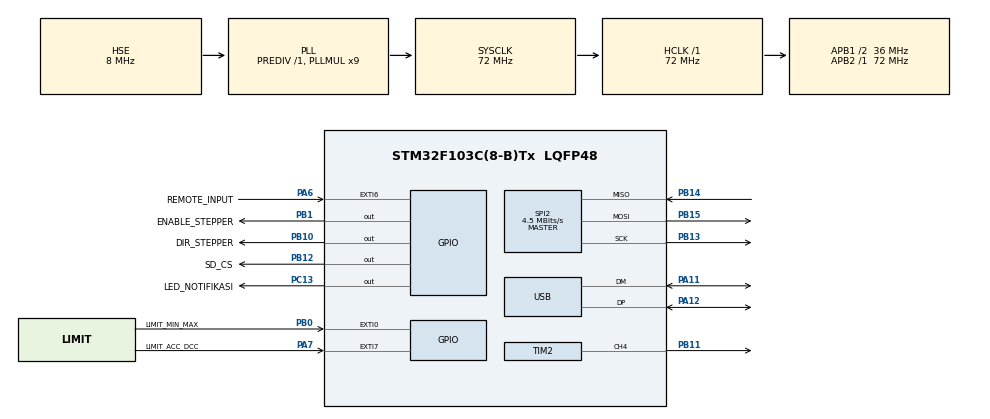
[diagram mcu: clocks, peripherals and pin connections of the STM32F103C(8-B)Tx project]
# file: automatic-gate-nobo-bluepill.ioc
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FATFS._MAX_SS=4096
FATFS._USE_LFN=1
Mcu.Family=STM32F1
Mcu.Name=STM32F103C(8-B)Tx
Mcu.Package=LQFP48
NVIC.EXTI0_IRQn=true\:0\:0\:false\:false\:true\:true\:true\:true
NVIC.EXTI9_5_IRQn=true\:0\:0\:false\:false\:true\:true\:true\:true
NVIC.PriorityGroup=NVIC_PRIORITYGROUP_4
NVIC.USB_LP_CAN1_RX0_IRQn=true\:0\:0\:false\:false\:true\:false\:true\:true
PA11.Mode=Device
PA11.Signal=USB_DM
PA12.Mode=Device
PA12.Signal=USB_DP
PA13.Mode=Serial_Wire
PA13.Signal=SYS_JTMS-SWDIO
PA14.Mode=Serial_Wire
PA14.Signal=SYS_JTCK-SWCLK
PA6.GPIO_Label=REMOTE_INPUT
PA6.GPIO_ModeDefaultEXTI=GPIO_MODE_IT_RISING_FALLING
PA6.GPIO_PuPd=GPIO_PULLUP
PA6.Signal=GPXTI6
PA7.GPIO_Label=LIMIT_ACC_DCC
PA7.GPIO_ModeDefaultEXTI=GPIO_MODE_IT_FALLING
PA7.GPIO_PuPd=GPIO_PULLUP
PA7.Signal=GPXTI7
PB0.GPIO_Label=LIMIT_MIN_MAX
PB0.GPIO_ModeDefaultEXTI=GPIO_MODE_IT_FALLING
PB0.GPIO_PuPd=GPIO_PULLUP
PB0.Signal=GPXTI0
PB1.GPIO_Label=ENABLE_STEPPER
PB1.Signal=GPIO_Output
PB10.GPIO_Label=DIR_STEPPER
PB10.Signal=GPIO_Output
PB11.Signal=S_TIM2_CH4
PB12.GPIO_Label=SD_CS
PB12.Signal=GPIO_Output
PB13.Mode=Full_Duplex_Master
PB13.Signal=SPI2_SCK
PB14.Mode=Full_Duplex_Master
PB14.Signal=SPI2_MISO
PB15.Mode=Full_Duplex_Master
PB15.Signal=SPI2_MOSI
PC13-TAMPER-RTC.GPIO_Label=LED_NOTIFIKASI
PC13-TAMPER-RTC.Signal=GPIO_Output
PC14-OSC32_IN.Mode=LSE-External-Oscillator
PC14-OSC32_IN.Signal=RCC_OSC32_IN
PC15-OSC32_OUT.Mode=LSE-External-Oscillator
PC15-OSC32_OUT.Signal=RCC_OSC32_OUT
PD0-OSC_IN.Mode=HSE-External-Oscillator
PD0-OSC_IN.Signal=RCC_OSC_IN
PD1-OSC_OUT.Mode=HSE-External-Oscillator
PD1-OSC_OUT.Signal=RCC_OSC_OUT
ProjectManager.HeapSize=0x200
ProjectManager.StackSize=0x400
ProjectManager.TargetToolchain=STM32CubeIDE
RCC.AHBFreq_Value=72000000
RCC.APB1CLKDivider=RCC_HCLK_DIV2
RCC.APB1Freq_Value=36000000
RCC.APB1TimFreq_Value=72000000
RCC.APB2Freq_Value=72000000
RCC.APB2TimFreq_Value=72000000
RCC.HCLKFreq_Value=72000000
RCC.PLLMUL=RCC_PLL_MUL9
RCC.SYSCLKFreq_VALUE=72000000
RCC.SYSCLKSource=RCC_SYSCLKSOURCE_PLLCLK
RCC.USBFreq_Value=48000000
RCC.USBPrescaler=RCC_USBCLKSOURCE_PLL_DIV1_5
RTC.Date=12
RTC.Hours=16
RTC.Minutes=30
RTC.WeekDay=RTC_WEEKDAY_SUNDAY
RTC.Year=25
SH.S_TIM2_CH4.0=TIM2_CH4,PWM Generation4 CH4
SPI2.BaudRatePrescaler=SPI_BAUDRATEPRESCALER_8
SPI2.CalculateBaudRate=4.5 MBits/s
SPI2.Direction=SPI_DIRECTION_2LINES
SPI2.Mode=SPI_MODE_MASTER
SPI2.VirtualType=VM_MASTER
TIM2.AutoReloadPreload=TIM_AUTORELOAD_PRELOAD_ENABLE
TIM2.Channel-PWM\ Generation4\ CH4=TIM_CHANNEL_4
TIM2.Period=300
TIM2.Prescaler=72-1
TIM2.Pulse-PWM\ Generation4\ CH4=10
USB_DEVICE.CLASS_NAME_FS=CDC
USB_DEVICE.VirtualMode=Cdc
USB_DEVICE.VirtualModeFS=Cdc_FS
VP_FATFS_VS_Generic.Mode=User_defined
VP_RTC_VS_RTC_Activate.Mode=RTC_Enabled
VP_RTC_VS_RTC_Calendar.Mode=RTC_Calendar
VP_TIM2_VS_ClockSourceINT.Mode=Internal
VP_USB_DEVICE_VS_USB_DEVICE_CDC_FS.Mode=CDC_FS
board=custom

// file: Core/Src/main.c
/* USER CODE BEGIN Header */
/**
 ******************************************************************************
 * @file           : main.c
 * @brief          : Main program body
 ******************************************************************************
 * @attention
 *
 * Copyright (c) 2025 STMicroelectronics.
 * All rights reserved.
 *
 * This software is licensed under terms that can be found in the LICENSE file
 * in the root directory of this software component.
 * If no LICENSE file comes with this software, it is provided AS-IS.
 *
 ******************************************************************************
 */
/* USER CODE END Header */
#include "main.h"
#include "fatfs.h"
#include "usb_device.h"

/* USER CODE BEGIN Includes */
#include "usbd_cdc_if.h"
#include <stdio.h>
#include "FEE.h"
/* USER CODE END Includes */

/* USER CODE BEGIN PD */
/* konfigurasi amalat memory untuk pengaturan */
#define PERIOD_MAX_SPEED_ADDRESS ((uint32_t)0x08007000)          //$1 default 20 (hz)
#define PERIOD_MIN_SPEED_ADDRESS ((uint32_t)0x08007010)          //$2 default 300 (hz)
#define TIME_INCREMENTPULSEWIDTH_ADDRESS ((uint32_t)0x08007020)  //$3 default 30 (ms)
#define TIME_DECCREMENTPULSEWIDTH_ADDRESS ((uint32_t)0x08007030) //$4 default 30 (ms)
#define VALUE_INCREMENTPULSEWIDTH_ADDRESS ((uint32_t)0x08007040) //$5 default 1 (hz)
#define VALUE_DECREMENTPULSEWIDTH_ADDRESS ((uint32_t)0x08007050) //$6 default 1 (hz)
#define NYALAKAN_VERBOSE_OUTPUT_ADDRESS ((uint32_t)0x08007060)   //$7 default 0 (verbose mati)
#define BALIK_ARAH_GERBANG_ADDRESS ((uint32_t)0x08007070)        //$8 default 0 (arah tidak terbalik)
#define BALIK_ENABLE_GERBANG_ADDRESS ((uint32_t)0x08007080)      //$9 default 0 (arah tidak terbalik)
#define DEBOUNCE_DELAY_EXTI_ADDRESS ((uint32_t)0x08007090)      //$10 default 0 (durasi debounce limit)
#define PULL_OFF_TIME_ADDRESS ((uint32_t)0x080070A0)      //$11 default 0 (durasi debounce limit)

/* Konfigurasi Parameter */
#define STEPS_PER_MM 100  // Langkah per mm
#define PULSE_WIDTH_US 10 // Lebar pulsa minimal agar bisa dibaca stepper driver dalam us
#define ACCELERATION 2000 // nilai akselerasi dalam mm/s^2
#define MAX_SPEED 1000    // max speed dalam mm/s
#define MIN_SPEED 50      // speed minimal jika dekselerasi mencapai spd minimal namun belum sampai limit_min_max

/* definisi interrupt handler */
//#define debounce_delay_exti 600 // Konfigurasi debounce delay external interrupt(dalam milidetik)
#define LIMIT_MIN_MAX_PIN 0
#define LIMIT_ACC_DCC_PIN 1
#define REMOTE_PIN 2
#define GERBANG_TERBUKA 0
#define GERBANG_TERTUTUP 1

/* USER CODE END PD */

RTC_HandleTypeDef hrtc;

SPI_HandleTypeDef hspi2;

TIM_HandleTypeDef htim2;

/* USER CODE BEGIN PV */
/* verbose output parameter */
uint8_t nyalakan_verbose_output = 0;            // default mati
uint8_t baca_dan_tampilkan_flash = 0;            // baca dan tampilkan nilai flash memory

// rentang pulse dari lambat sampai cepat (max speed)
uint32_t period_max_speed = 20;            // dalam us
uint32_t period_min_speed = 300;            // dalam us
uint32_t time_incrementPulseWidth = 30;            // dalam ms (untuk menentukan akselerasi secara bodoh)
uint32_t time_decrementPulseWidth = 30;            // dalam ms (untuk menentukan dekselerasi secara bodoh)
uint32_t value_incrementPulseWidth = 1;            // per time_incrementPulseWidth berapa nilai currentPeriod yang berkurang
uint32_t value_decrementPulseWidth = 1;            // per time_incrementPulseWidth berapa nilai currentPeriod yang berkurang
uint32_t currentPeriod = 0;             // Periode awal dalam mikrodetik

uint32_t last_updateTimePeriod = 0;            // Waktu terakhir pembaruan periode (u/ hal_gettick)
uint8_t period_increasing_decreasing = 0;            // Flag untuk mengatur pengurangan nilai period step

// handle variabel dan flag untuk gerbang
uint8_t gerbang_berjalan = 0;            // Flag untuk menunjukkan gerbang berjalan
uint8_t arah_gerbang = 0;              // Flag untuk menunjukkan gerbang berjalan
uint32_t last_timeGerbangBerhenti = 0;            // handle delay gerbang mati setelah beberapa saat
uint32_t time_disableGerbang = 2000;            // handle delay gerbang mati setelah beberapa saat
uint8_t balik_arahGerbang = 0;            // variabel untuk membalik arah gerbang
uint8_t balik_enableGerbang = 0;
uint32_t debounce_delay_exti = 0;
uint32_t pull_off_time = 0;
uint32_t buffer_pull_off_time = 0;
uint8_t pull_off_state = 0;

// variabel untuk pin input gerbang (remote, limit_min_max, limit_acc_dcc)
volatile uint32_t last_buttonPressTime[3] = { 0, 0, 0 };            // interrupt delay
volatile uint8_t state_limit[3] = { 0, 0, 0 };
/* USER CODE END PV */

void SystemClock_Config(void);
static void MX_GPIO_Init(void);
static void MX_TIM2_Init(void);
static void MX_RTC_Init(void);
static void MX_SPI2_Init(void);
/* USER CODE BEGIN PFP */
void delay_us(uint32_t);
void baca_nilai_pada_flash(void);
// void move_motor(uint32_t, uint8_t);
/* USER CODE END PFP */

/* USER CODE BEGIN 0 */
int _write(int file, char *ptr, int len) {
 CDC_Transmit_FS((uint8_t*) ptr, len);
 return len;
}
/* USER CODE END 0 */

int main(void) {

 /* MCU Configuration--------------------------------------------------------*/

 /* Reset of all peripherals, Initializes the Flash interface and the Systick. */
 HAL_Init();

 /* Configure the system clock */
 SystemClock_Config();

 /* Initialize all configured peripherals */
 MX_GPIO_Init();
 MX_USB_DEVICE_Init();
 MX_TIM2_Init();
 MX_RTC_Init();
 MX_SPI2_Init();
 MX_FATFS_Init();
 /* USER CODE BEGIN 2 */
 baca_nilai_pada_flash();
 /* USER CODE END 2 */

 /* Infinite loop */
 /* USER CODE BEGIN WHILE */
 while (1) {
  /*fungsi print ke serial monitor*/
  if (baca_dan_tampilkan_flash == 1) {
   baca_nilai_pada_flash();
   char buffer[512];
   int len =
    snprintf(buffer, sizeof(buffer),
     "$1 = %ld (period_max_speed)\n$2 = %ld (period_min_speed)\n$3 = %ld (time_incrementPulseWidth)\n$4 = %ld (time_decrementPulseWidth)\n$5 = %ld (value_incrementPulseWidth)\n$6 = %ld (value_decrementPulseWidth)\n$7 = %d (nyalakan verbose output)\n$8 = %d (1 bearti arah gerbang terbalik)\n$9 = %d (1 bearti enable gerbang terbalik)\n$10 = %ld (nilai debounce delay)\n$11 = %ld (pull off time)\n",
     period_max_speed, period_min_speed, time_incrementPulseWidth, time_decrementPulseWidth,
     value_incrementPulseWidth, value_decrementPulseWidth, nyalakan_verbose_output,
     balik_arahGerbang, balik_enableGerbang, debounce_delay_exti, pull_off_time);

   CDC_Transmit_FS((uint8_t*) buffer, len);
   //
   //   printf("$1 = %lu\n$2 = %lu\n$3 = %lu\n$4 = %lu\n$5 = %lu\n$6 = %lu\n", set_waktu_timer_oli,
   //    set_waktu_pompa_oli_on, tipe_emulasi, auto_counter_delay, verbose_delay, arah_auto_counter);
   baca_dan_tampilkan_flash = 0;
  }
  if (nyalakan_verbose_output == 1) {
   printf("nilai: %d %d %d %d %d \t\n", state_limit[LIMIT_MIN_MAX_PIN],
    state_limit[LIMIT_ACC_DCC_PIN], state_limit[REMOTE_PIN], gerbang_berjalan,
    period_increasing_decreasing);
  }

  /* handle arah gerbang. berikut adalah truth table-nya :3*/
  /* 0==0 true
   * 1==0 false
   * 0==1 false
   * 1==1 true
   */
  arah_gerbang == balik_arahGerbang ?
   HAL_GPIO_WritePin(DIR_STEPPER_GPIO_Port, DIR_STEPPER_Pin, GPIO_PIN_RESET) :
   HAL_GPIO_WritePin(DIR_STEPPER_GPIO_Port, DIR_STEPPER_Pin, GPIO_PIN_SET);

  /* handle disable stepper setelah beberapa saat berhenti */
  if (!gerbang_berjalan && HAL_GetTick() - last_timeGerbangBerhenti >= time_disableGerbang) {
   time_disableGerbang = HAL_GetTick();            // Catat waktu pembaruan
   balik_enableGerbang ?
    HAL_GPIO_WritePin(ENABLE_STEPPER_GPIO_Port, ENABLE_STEPPER_Pin, GPIO_PIN_SET) :
    HAL_GPIO_WritePin(ENABLE_STEPPER_GPIO_Port, ENABLE_STEPPER_Pin, GPIO_PIN_RESET);
  }

  /* lakukan sesuatu acc, cc, dan dcc berdasar state_limit[LIMIT_ACC_DCC_PIN]*/
  if (state_limit[LIMIT_ACC_DCC_PIN] == 0) {
   period_increasing_decreasing = 1;            // Mulai akselerasi
  } else if (state_limit[LIMIT_ACC_DCC_PIN] == 1) {
   period_increasing_decreasing = 0;            // Mulai konstan speed
  } else {
   period_increasing_decreasing = 2;            // Mulai dekselerasi
  }

  /*jika limit_min_max tertrigger ketika gerbang berjalan, matikan state_limit[REMOTE_PIN] sehingga mematikan pulse*/
  if (state_limit[LIMIT_MIN_MAX_PIN]) {
   state_limit[LIMIT_ACC_DCC_PIN] = 0;
   state_limit[LIMIT_MIN_MAX_PIN] = 0;
   state_limit[REMOTE_PIN] = 0;            // reset flag trigger remote gerbang
  }

  /* pin remote gerbang tertrigger */
  if (state_limit[REMOTE_PIN]) {
   if (!gerbang_berjalan) {                                           // jika gerbang tidak berjalan
    pull_off_state = 0;            //matikan pull_off_state
    gerbang_berjalan = 1;                                               // Set flag jalankan gerbang
    balik_enableGerbang ?
     HAL_GPIO_WritePin(ENABLE_STEPPER_GPIO_Port, ENABLE_STEPPER_Pin, GPIO_PIN_RESET) :
     HAL_GPIO_WritePin(ENABLE_STEPPER_GPIO_Port, ENABLE_STEPPER_Pin, GPIO_PIN_SET);            // aktifkan driver
    state_limit[LIMIT_ACC_DCC_PIN] = 0;                                              // mulai dari 0
    currentPeriod = period_min_speed;                                  // Reset periode ke min speed
    HAL_TIM_PWM_Start(&htim2, TIM_CHANNEL_4);                                           // Mulai PWM
   }
  } else { /*flag state_limit[LIMIT_ACC_DCC_PIN] mati, berhentikan gerbang*/
   if (gerbang_berjalan) {            // hentikan gerbang
//    state_limit[LIMIT_ACC_DCC_PIN] = 0;
//    HAL_TIM_PWM_Stop(&htim2, TIM_CHANNEL_4); /* Matikan PWM*/
//    /*pull off gerbang*/
//    HAL_Delay(200); /*jeda sebentar sebelum pull-off*/
//    /*ini kebalikan dari yang atas tadi*/
//    arah_gerbang == balik_arahGerbang ?
//     HAL_GPIO_WritePin(DIR_STEPPER_GPIO_Port, DIR_STEPPER_Pin, GPIO_PIN_SET) :
//     HAL_GPIO_WritePin(DIR_STEPPER_GPIO_Port, DIR_STEPPER_Pin, GPIO_PIN_RESET);
//    HAL_TIM_PWM_Start(&htim2, TIM_CHANNEL_4);                                           // Mulai PWM
//    __HAL_TIM_SET_AUTORELOAD(&htim2, period_min_speed);
//    HAL_Delay(pull_off_time);
//    HAL_TIM_PWM_Stop(&htim2, TIM_CHANNEL_4); /* Matikan PWM*/
//
//    /*disable stepper motor*/
//    HAL_Delay(500);
//    balik_enableGerbang ?
//     HAL_GPIO_WritePin(GPIOA, GPIO_PIN_0, GPIO_PIN_RESET) :
//     HAL_GPIO_WritePin(GPIOA, GPIO_PIN_0, GPIO_PIN_SET);            // Pastikan output low
//      /*buat gerbang tidak berjalan lagi*/
//    gerbang_berjalan = 0; /*Reset flag tombol*/
//    period_increasing_decreasing = 0; /* Hentikan pengurangan periode*/
    state_limit[LIMIT_ACC_DCC_PIN] = 0;
    gerbang_berjalan = 0;                                 // Reset flag tombol
    period_increasing_decreasing = 0;                     // Hentikan pengurangan periode
    HAL_TIM_PWM_Stop(&htim2, TIM_CHANNEL_4);              // Matikan PWM
    balik_enableGerbang ?
     HAL_GPIO_WritePin(GPIOA, GPIO_PIN_0, GPIO_PIN_RESET) :
     HAL_GPIO_WritePin(GPIOA, GPIO_PIN_0, GPIO_PIN_SET);            // Pastikan output low
   }
  }

  /* Perbarui periode sinyal untuk pull-off */
//  if (pull_off_state == 1 && HAL_GetTick() - last_updateTimePeriod >= time_incrementPulseWidth) {            // Perbarui setiap 20 ms
//   last_updateTimePeriod = HAL_GetTick();            // Catat waktu pembaruan                                    // lakukan akselerasi
//   if (buffer_pull_off_time > 0) {
//    buffer_pull_off_time -= buffer_pull_off_time - 1;            // Kurangi periode secara bertahap
//    __HAL_TIM_SET_AUTORELOAD(&htim2, period_min_speed);            // Update ARR
//                                                                   //    jangan update duty karena driver selalu menerima pulse 10us
//                                                                   //    __HAL_TIM_SET_COMPARE(&htim2, TIM_CHANNEL_4, currentPeriod / 2); // Update duty cycle
//   } else {
//    gerbang_berjalan = 0;                                 // Reset flag tombol
//    period_increasing_decreasing = 0;                     // Hentikan pengurangan periode
//    HAL_TIM_PWM_Stop(&htim2, TIM_CHANNEL_4);              // Matikan PWM
//    balik_enableGerbang ?
//     HAL_GPIO_WritePin(GPIOA, GPIO_PIN_0, GPIO_PIN_RESET) :
//     HAL_GPIO_WritePin(GPIOA, GPIO_PIN_0, GPIO_PIN_SET);            // Pastikan output low
//
//    buffer_pull_off_time = 0;
//    pull_off_state = 0;            // Periode mencapai 20 µs, hentikan pengurangan
//   }
//  }

  /* Perbarui periode sinyal untuk akselerasi */
  if (period_increasing_decreasing == 1
   && HAL_GetTick() - last_updateTimePeriod >= time_incrementPulseWidth) {            // Perbarui setiap 20 ms
   last_updateTimePeriod = HAL_GetTick();            // Catat waktu pembaruan
   if (currentPeriod > period_max_speed) {                                     // lakukan akselerasi
    currentPeriod -= value_incrementPulseWidth;            // Kurangi periode secara bertahap
    __HAL_TIM_SET_AUTORELOAD(&htim2, currentPeriod - 1);            // Update ARR
                                                                    //    jangan update duty karena driver selalu menerima pulse 10us
                                                                    //    __HAL_TIM_SET_COMPARE(&htim2, TIM_CHANNEL_4, currentPeriod / 2); // Update duty cycle
   } else {
    period_increasing_decreasing = 0;            // Periode mencapai 20 µs, hentikan pengurangan
   }
  }

  /* Perbarui periode sinyal untuk dekselerasi */
  if (period_increasing_decreasing == 2
   && HAL_GetTick() - last_updateTimePeriod >= time_incrementPulseWidth) {            // Perbarui setiap 20 ms
   last_updateTimePeriod = HAL_GetTick();            // Catat waktu pembaruan
   if (currentPeriod < period_min_speed) {                                     // lakukan akselerasi
    currentPeriod += value_decrementPulseWidth;            // Kurangi periode secara bertahap
    __HAL_TIM_SET_AUTORELOAD(&htim2, currentPeriod - 1);            // Update ARR
                                                                    //    jangan update duty karena driver selalu menerima pulse 10us
                                                                    //    __HAL_TIM_SET_COMPARE(&htim2, TIM_CHANNEL_4, currentPeriod / 2); // Update duty cycle
   } else {
    period_increasing_decreasing = 0;            // Periode mencapai 20 µs, hentikan pengurangan
   }
  }
 }
 /* USER CODE END WHILE */

}

void SystemClock_Config(void) {
 RCC_OscInitTypeDef RCC_OscInitStruct = { 0 };
 RCC_ClkInitTypeDef RCC_ClkInitStruct = { 0 };
 RCC_PeriphCLKInitTypeDef PeriphClkInit = { 0 };

 /** Initializes the RCC Oscillators according to the specified parameters
  * in the RCC_OscInitTypeDef structure.
  */
 RCC_OscInitStruct.OscillatorType = RCC_OSCILLATORTYPE_LSI | RCC_OSCILLATORTYPE_HSE;
 RCC_OscInitStruct.HSEState = RCC_HSE_ON;
 RCC_OscInitStruct.HSEPredivValue = RCC_HSE_PREDIV_DIV1;
 RCC_OscInitStruct.HSIState = RCC_HSI_ON;
 RCC_OscInitStruct.LSIState = RCC_LSI_ON;
 RCC_OscInitStruct.PLL.PLLState = RCC_PLL_ON;
 RCC_OscInitStruct.PLL.PLLSource = RCC_PLLSOURCE_HSE;
 RCC_OscInitStruct.PLL.PLLMUL = RCC_PLL_MUL9;
 if (HAL_RCC_OscConfig(&RCC_OscInitStruct) != HAL_OK) {
  Error_Handler();
 }

 /** Initializes the CPU, AHB and APB buses clocks
  */
 RCC_ClkInitStruct.ClockType = RCC_CLOCKTYPE_HCLK | RCC_CLOCKTYPE_SYSCLK | RCC_CLOCKTYPE_PCLK1
  | RCC_CLOCKTYPE_PCLK2;
 RCC_ClkInitStruct.SYSCLKSource = RCC_SYSCLKSOURCE_PLLCLK;
 RCC_ClkInitStruct.AHBCLKDivider = RCC_SYSCLK_DIV1;
 RCC_ClkInitStruct.APB1CLKDivider = RCC_HCLK_DIV2;
 RCC_ClkInitStruct.APB2CLKDivider = RCC_HCLK_DIV1;

 if (HAL_RCC_ClockConfig(&RCC_ClkInitStruct, FLASH_LATENCY_2) != HAL_OK) {
  Error_Handler();
 }
 PeriphClkInit.PeriphClockSelection = RCC_PERIPHCLK_RTC | RCC_PERIPHCLK_USB;
 PeriphClkInit.RTCClockSelection = RCC_RTCCLKSOURCE_LSI;
 PeriphClkInit.UsbClockSelection = RCC_USBCLKSOURCE_PLL_DIV1_5;
 if (HAL_RCCEx_PeriphCLKConfig(&PeriphClkInit) != HAL_OK) {
  Error_Handler();
 }
}

static void MX_RTC_Init(void) {

 RTC_TimeTypeDef sTime = { 0 };
 RTC_DateTypeDef DateToUpdate = { 0 };

 /** Initialize RTC Only
  */
 hrtc.Instance = RTC;
 hrtc.Init.AsynchPrediv = RTC_AUTO_1_SECOND;
 hrtc.Init.OutPut = RTC_OUTPUTSOURCE_ALARM;
 if (HAL_RTC_Init(&hrtc) != HAL_OK) {
  Error_Handler();
 }

 /** Initialize RTC and set the Time and Date
  */
 sTime.Hours = 0x16;
 sTime.Minutes = 0x30;
 sTime.Seconds = 0x0;

 if (HAL_RTC_SetTime(&hrtc, &sTime, RTC_FORMAT_BCD) != HAL_OK) {
  Error_Handler();
 }
 DateToUpdate.WeekDay = RTC_WEEKDAY_SUNDAY;
 DateToUpdate.Month = RTC_MONTH_JANUARY;
 DateToUpdate.Date = 0x12;
 DateToUpdate.Year = 0x25;

 if (HAL_RTC_SetDate(&hrtc, &DateToUpdate, RTC_FORMAT_BCD) != HAL_OK) {
  Error_Handler();
 }

}

static void MX_SPI2_Init(void) {

 /* SPI2 parameter configuration*/
 hspi2.Instance = SPI2;
 hspi2.Init.Mode = SPI_MODE_MASTER;
 hspi2.Init.Direction = SPI_DIRECTION_2LINES;
 hspi2.Init.DataSize = SPI_DATASIZE_8BIT;
 hspi2.Init.CLKPolarity = SPI_POLARITY_LOW;
 hspi2.Init.CLKPhase = SPI_PHASE_1EDGE;
 hspi2.Init.NSS = SPI_NSS_SOFT;
 hspi2.Init.BaudRatePrescaler = SPI_BAUDRATEPRESCALER_8;
 hspi2.Init.FirstBit = SPI_FIRSTBIT_MSB;
 hspi2.Init.TIMode = SPI_TIMODE_DISABLE;
 hspi2.Init.CRCCalculation = SPI_CRCCALCULATION_DISABLE;
 hspi2.Init.CRCPolynomial = 10;
 if (HAL_SPI_Init(&hspi2) != HAL_OK) {
  Error_Handler();
 }

}

static void MX_TIM2_Init(void) {

 TIM_ClockConfigTypeDef sClockSourceConfig = { 0 };
 TIM_MasterConfigTypeDef sMasterConfig = { 0 };
 TIM_OC_InitTypeDef sConfigOC = { 0 };

 htim2.Instance = TIM2;
 htim2.Init.Prescaler = 72 - 1;
 htim2.Init.CounterMode = TIM_COUNTERMODE_UP;
 htim2.Init.Period = 300;
 htim2.Init.ClockDivision = TIM_CLOCKDIVISION_DIV1;
 htim2.Init.AutoReloadPreload = TIM_AUTORELOAD_PRELOAD_ENABLE;
 if (HAL_TIM_Base_Init(&htim2) != HAL_OK) {
  Error_Handler();
 }
 sClockSourceConfig.ClockSource = TIM_CLOCKSOURCE_INTERNAL;
 if (HAL_TIM_ConfigClockSource(&htim2, &sClockSourceConfig) != HAL_OK) {
  Error_Handler();
 }
 if (HAL_TIM_PWM_Init(&htim2) != HAL_OK) {
  Error_Handler();
 }
 sMasterConfig.MasterOutputTrigger = TIM_TRGO_RESET;
 sMasterConfig.MasterSlaveMode = TIM_MASTERSLAVEMODE_DISABLE;
 if (HAL_TIMEx_MasterConfigSynchronization(&htim2, &sMasterConfig) != HAL_OK) {
  Error_Handler();
 }
 sConfigOC.OCMode = TIM_OCMODE_PWM1;
 sConfigOC.Pulse = 10;
 sConfigOC.OCPolarity = TIM_OCPOLARITY_HIGH;
 sConfigOC.OCFastMode = TIM_OCFAST_DISABLE;
 if (HAL_TIM_PWM_ConfigChannel(&htim2, &sConfigOC, TIM_CHANNEL_4) != HAL_OK) {
  Error_Handler();
 }
 HAL_TIM_MspPostInit(&htim2);

}

static void MX_GPIO_Init(void) {
 GPIO_InitTypeDef GPIO_InitStruct = { 0 };

 /* GPIO Ports Clock Enable */
 __HAL_RCC_GPIOC_CLK_ENABLE();
 __HAL_RCC_GPIOD_CLK_ENABLE();
 __HAL_RCC_GPIOA_CLK_ENABLE();
 __HAL_RCC_GPIOB_CLK_ENABLE();

 /*Configure GPIO pin Output Level */
 HAL_GPIO_WritePin(LED_NOTIFIKASI_GPIO_Port, LED_NOTIFIKASI_Pin, GPIO_PIN_RESET);

 /*Configure GPIO pin Output Level */
 HAL_GPIO_WritePin(GPIOB, ENABLE_STEPPER_Pin | DIR_STEPPER_Pin | SD_CS_Pin, GPIO_PIN_RESET);

 /*Configure GPIO pin : LED_NOTIFIKASI_Pin */
 GPIO_InitStruct.Pin = LED_NOTIFIKASI_Pin;
 GPIO_InitStruct.Mode = GPIO_MODE_OUTPUT_PP;
 GPIO_InitStruct.Pull = GPIO_NOPULL;
 GPIO_InitStruct.Speed = GPIO_SPEED_FREQ_LOW;
 HAL_GPIO_Init(LED_NOTIFIKASI_GPIO_Port, &GPIO_InitStruct);

 /*Configure GPIO pin : REMOTE_INPUT_Pin */
 GPIO_InitStruct.Pin = REMOTE_INPUT_Pin;
 GPIO_InitStruct.Mode = GPIO_MODE_IT_RISING_FALLING;
 GPIO_InitStruct.Pull = GPIO_PULLUP;
 HAL_GPIO_Init(REMOTE_INPUT_GPIO_Port, &GPIO_InitStruct);

 /*Configure GPIO pin : LIMIT_ACC_DCC_Pin */
 GPIO_InitStruct.Pin = LIMIT_ACC_DCC_Pin;
 GPIO_InitStruct.Mode = GPIO_MODE_IT_FALLING;
 GPIO_InitStruct.Pull = GPIO_PULLUP;
 HAL_GPIO_Init(LIMIT_ACC_DCC_GPIO_Port, &GPIO_InitStruct);

 /*Configure GPIO pin : LIMIT_MIN_MAX_Pin */
 GPIO_InitStruct.Pin = LIMIT_MIN_MAX_Pin;
 GPIO_InitStruct.Mode = GPIO_MODE_IT_FALLING;
 GPIO_InitStruct.Pull = GPIO_PULLUP;
 HAL_GPIO_Init(LIMIT_MIN_MAX_GPIO_Port, &GPIO_InitStruct);

 /*Configure GPIO pins : ENABLE_STEPPER_Pin DIR_STEPPER_Pin SD_CS_Pin */
 GPIO_InitStruct.Pin = ENABLE_STEPPER_Pin | DIR_STEPPER_Pin | SD_CS_Pin;
 GPIO_InitStruct.Mode = GPIO_MODE_OUTPUT_PP;
 GPIO_InitStruct.Pull = GPIO_NOPULL;
 GPIO_InitStruct.Speed = GPIO_SPEED_FREQ_LOW;
 HAL_GPIO_Init(GPIOB, &GPIO_InitStruct);

 /* EXTI interrupt init*/
 HAL_NVIC_SetPriority(EXTI0_IRQn, 0, 0);
 HAL_NVIC_EnableIRQ(EXTI0_IRQn);

 HAL_NVIC_SetPriority(EXTI9_5_IRQn, 0, 0);
 HAL_NVIC_EnableIRQ(EXTI9_5_IRQn);

}

/* USER CODE BEGIN 4 */
/* Function to Set RTC Time */
void Set_RTC_Time(uint8_t hour, uint8_t minute, uint8_t second) {
 RTC_TimeTypeDef sTime = { 0 };
 sTime.Hours = hour;
 sTime.Minutes = minute;
 sTime.Seconds = second;

 if (HAL_RTC_SetTime(&hrtc, &sTime, RTC_FORMAT_BIN) != HAL_OK) {
  Error_Handler();
 }
}

/* Function to Get RTC Time */
//void Get_RTC_Time(void) {
//    RTC_TimeTypeDef sTime = {0};
//    HAL_RTC_GetTime(&hrtc, &sTime, RTC_FORMAT_BIN);
//
//    /* Send Time via USB CDC */
//    snprintf((char *)USB_TxBuffer, sizeof(USB_TxBuffer), "Time: %02d:%02d:%02d\r\n",
//             sTime.Hours, sTime.Minutes, sTime.Seconds);
//    CDC_Transmit_FS(USB_TxBuffer, strlen((char *)USB_TxBuffer));
//}
// baca nilai pada flash memory dan masukkan ke variabel
void baca_nilai_pada_flash(void) {
 FEE_ReadData(PERIOD_MAX_SPEED_ADDRESS, &period_max_speed, sizeof(uint32_t));
 FEE_ReadData(PERIOD_MIN_SPEED_ADDRESS, &period_min_speed, sizeof(uint32_t));
 FEE_ReadData(TIME_INCREMENTPULSEWIDTH_ADDRESS, &time_incrementPulseWidth, sizeof(uint32_t));
 FEE_ReadData(TIME_DECCREMENTPULSEWIDTH_ADDRESS, &time_decrementPulseWidth, sizeof(uint32_t));
 FEE_ReadData(VALUE_INCREMENTPULSEWIDTH_ADDRESS, &value_incrementPulseWidth, sizeof(uint32_t));
 FEE_ReadData(VALUE_DECREMENTPULSEWIDTH_ADDRESS, &value_decrementPulseWidth, sizeof(uint32_t));
 FEE_ReadData(NYALAKAN_VERBOSE_OUTPUT_ADDRESS, &nyalakan_verbose_output, sizeof(uint8_t));
 FEE_ReadData(BALIK_ARAH_GERBANG_ADDRESS, &balik_arahGerbang, sizeof(uint8_t));
 FEE_ReadData(BALIK_ENABLE_GERBANG_ADDRESS, &balik_enableGerbang, sizeof(uint8_t));
 FEE_ReadData(DEBOUNCE_DELAY_EXTI_ADDRESS, &debounce_delay_exti, sizeof(uint32_t));
 FEE_ReadData(PULL_OFF_TIME_ADDRESS, &pull_off_time, sizeof(uint32_t));
}

// untuk menerima pesan dari pc
void USB_CDC_RxHandler(uint8_t *Buf, uint32_t Len) {
 /* Pastikan string berakhir dengan null-terminator */
 Buf[Len] = '\0';

 /* Periksa apakah perintah dimulai dengan '$' */
 if (Buf[0] == '$') {
  char *token = strtok((char*) Buf, "=");            // Pisahkan berdasarkan '='
  if (token != NULL && strcmp(token, "$1") == 0) {
   /* Ambil nilai setelah '=' */
   char *value = strtok(NULL, "=");
   if (value != NULL) {
    /* Ubah nilai variabel mode_emulasi */
    period_max_speed = atoi(value);
    FEE_WriteData(PERIOD_MAX_SPEED_ADDRESS, &period_max_speed, sizeof(uint32_t));
    printf("periode max speed %ld\n", period_max_speed);
   }
  } else if (token != NULL && strcmp(token, "$2") == 0) {
   char *value = strtok(NULL, "=");
   if (value != NULL) {
    period_min_speed = atoi(value);
    FEE_WriteData(PERIOD_MIN_SPEED_ADDRESS, &period_min_speed, sizeof(uint32_t));
    printf("periode min speed ke %ld\n", period_min_speed);
   }
  } else if (token != NULL && strcmp(token, "$3") == 0) {
   char *value = strtok(NULL, "=");
   if (value != NULL) {
    time_incrementPulseWidth = atoi(value);
    FEE_WriteData(TIME_INCREMENTPULSEWIDTH_ADDRESS, &time_incrementPulseWidth, sizeof(uint32_t));
    printf("waktu untuk increment periode ke %ld\n", time_incrementPulseWidth);
   }
  } else if (token != NULL && strcmp(token, "$4") == 0) {
   char *value = strtok(NULL, "=");
   if (value != NULL) {
    time_decrementPulseWidth = atoi(value);
    FEE_WriteData(TIME_DECCREMENTPULSEWIDTH_ADDRESS, &time_decrementPulseWidth, sizeof(uint32_t));
    printf("waktu untuk decrement periode %ld\n", time_decrementPulseWidth);
   }
  } else if (token != NULL && strcmp(token, "$5") == 0) {
   char *value = strtok(NULL, "=");
   if (value != NULL) {
    value_incrementPulseWidth = atoi(value);
    FEE_WriteData(VALUE_INCREMENTPULSEWIDTH_ADDRESS, &value_incrementPulseWidth, sizeof(uint32_t));
    printf("nilai increment periode setiap waktu %ld\n", value_incrementPulseWidth);
   }
  } else if (token != NULL && strcmp(token, "$6") == 0) {
   char *value = strtok(NULL, "=");
   if (value != NULL) {
    value_decrementPulseWidth = atoi(value);
    FEE_WriteData(VALUE_DECREMENTPULSEWIDTH_ADDRESS, &value_decrementPulseWidth, sizeof(uint32_t));
    printf("nilai decrement periode setiap waktu %ld\n", value_decrementPulseWidth);
   }
  } else if (token != NULL && strcmp(token, "$7") == 0) {
   char *value = strtok(NULL, "=");
   if (value != NULL) {
    nyalakan_verbose_output = atoi(value);
    FEE_WriteData(NYALAKAN_VERBOSE_OUTPUT_ADDRESS, &nyalakan_verbose_output, sizeof(uint32_t));
    printf("verbose output %d\n", nyalakan_verbose_output);
   }
  } else if (token != NULL && strcmp(token, "$8") == 0) {
   char *value = strtok(NULL, "=");
   if (value != NULL) {
    balik_arahGerbang = atoi(value);
    FEE_WriteData(BALIK_ARAH_GERBANG_ADDRESS, &balik_arahGerbang, sizeof(uint32_t));
    printf("arah gerbang %d\n", balik_arahGerbang);
   }
  } else if (token != NULL && strcmp(token, "$9") == 0) {
   char *value = strtok(NULL, "=");
   if (value != NULL) {
    balik_enableGerbang = atoi(value);
    FEE_WriteData(BALIK_ENABLE_GERBANG_ADDRESS, &balik_enableGerbang, sizeof(uint32_t));
    printf("enable gerbang %d\n", balik_enableGerbang);
   }
  } else if (token != NULL && strcmp(token, "$10") == 0) {
   char *value = strtok(NULL, "=");
   if (value != NULL) {
    debounce_delay_exti = atoi(value);
    FEE_WriteData(DEBOUNCE_DELAY_EXTI_ADDRESS, &debounce_delay_exti, sizeof(uint32_t));
    printf("debounce delay %ld\n", debounce_delay_exti);
   }
  } else if (token != NULL && strcmp(token, "$11") == 0) {
   char *value = strtok(NULL, "=");
   if (value != NULL) {
    pull_off_time = atoi(value);
    FEE_WriteData(PULL_OFF_TIME_ADDRESS, &pull_off_time, sizeof(uint32_t));
    printf("pull off time %ld\n", pull_off_time);
   }
  } else if (token != NULL && strcmp(token, "$$") == 0) {
   // perlihatkan apa yang ada pada flash memory (simpanan pengaturan)
   baca_dan_tampilkan_flash = 1;
  } else printf("Perintah tidak valid\n");
 }
}

// Fungsi Delay Mikrodetik
void delay_us(uint32_t us) {
 uint32_t start = TIM2->CNT;
 while ((TIM2->CNT - start) < us);
}

// program membaca nilai interrupt
void HAL_GPIO_EXTI_Callback(uint16_t GPIO_Pin) {
 if (GPIO_Pin == LIMIT_MIN_MAX_Pin) {                // Periksa apakah interrupt berasal dari tombol
  uint32_t current_time = HAL_GetTick();            // Dapatkan waktu saat ini
  if ((current_time - last_buttonPressTime[LIMIT_MIN_MAX_PIN]) >= debounce_delay_exti) {
   last_buttonPressTime[LIMIT_MIN_MAX_PIN] = current_time;            // Perbarui waktu terakhir tombol ditekan
   // Tindakan saat tombol ditekan
   state_limit[LIMIT_MIN_MAX_PIN] = 1;
   HAL_GPIO_TogglePin(GPIOC, GPIO_PIN_13);            // Toggle LED di PC13
   printf("limit_min_max %d\r\n", state_limit[LIMIT_MIN_MAX_PIN]);
  }
 }

 if (GPIO_Pin == LIMIT_ACC_DCC_Pin) {                // Periksa apakah interrupt berasal dari tombol
  uint32_t current_time = HAL_GetTick();            // Dapatkan waktu saat ini
  if ((current_time - last_buttonPressTime[LIMIT_ACC_DCC_PIN]) >= debounce_delay_exti) {
   last_buttonPressTime[LIMIT_ACC_DCC_PIN] = current_time;            // Perbarui waktu terakhir tombol ditekan
   // Tindakan saat tombol ditekan
   state_limit[LIMIT_ACC_DCC_PIN]++;
   HAL_GPIO_TogglePin(GPIOC, GPIO_PIN_13);            // Toggle LED di PC13
   printf("limit_acc_dcc %d\r\n", state_limit[LIMIT_ACC_DCC_PIN]);
  }
 }

 if (GPIO_Pin == REMOTE_INPUT_Pin) {                 // Periksa apakah interrupt berasal dari tombol
  uint32_t current_time = HAL_GetTick();            // Dapatkan waktu saat ini
  if ((current_time - last_buttonPressTime[REMOTE_PIN]) >= debounce_delay_exti) {
   last_buttonPressTime[REMOTE_PIN] = current_time;            // Perbarui waktu terakhir tombol ditekan
   // Tindakan saat tombol berubah keadaan (rising and falling edge detect)
   if (HAL_GPIO_ReadPin(REMOTE_INPUT_GPIO_Port, REMOTE_INPUT_Pin) == GPIO_PIN_RESET) {
    arah_gerbang = GERBANG_TERBUKA;
   } else {
    arah_gerbang = GERBANG_TERTUTUP;
   }
   state_limit[REMOTE_PIN] = 1;
   HAL_GPIO_TogglePin(GPIOC, GPIO_PIN_13);            // Toggle LED di PC13
   printf("remote_pin %d\r\n", state_limit[REMOTE_PIN]);
  }
 }
}

/* USER CODE END 4 */

void Error_Handler(void) {
 __disable_irq();
 while (1) {
 }
}
